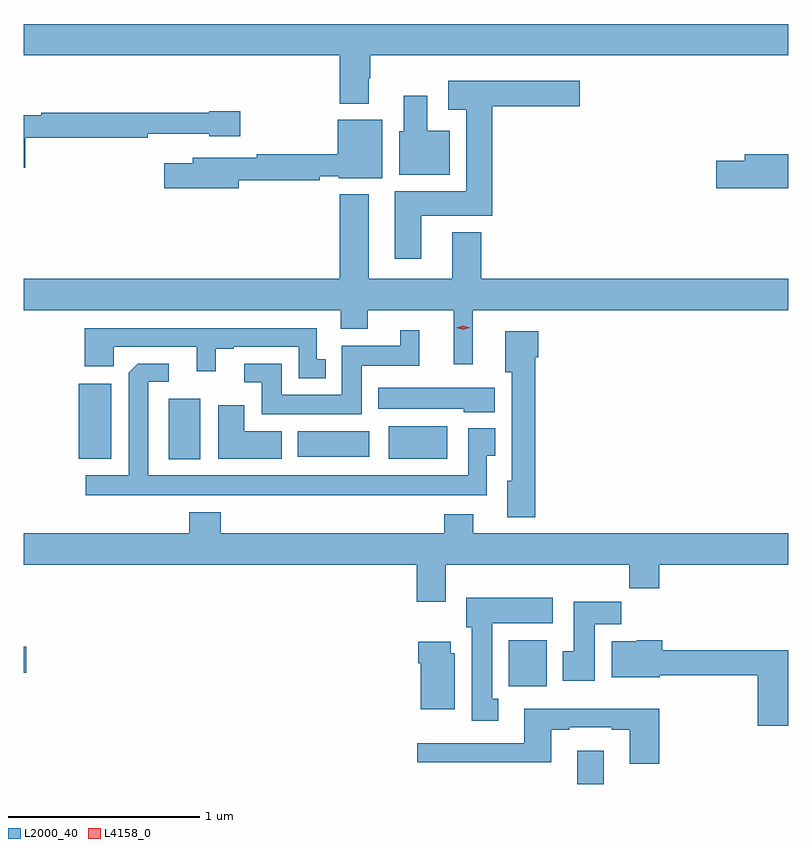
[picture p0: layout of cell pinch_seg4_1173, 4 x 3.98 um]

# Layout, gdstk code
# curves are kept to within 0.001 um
import gdstk
lib = gdstk.Library(unit=1e-6, precision=1e-09)
def R(c, l, rs):  # rectangles x0, y0, x1, y1
    for r in rs: c.add(gdstk.rectangle(r[:2], r[2:], *l))
def P(c, l, *ps):  # polygons
    for p in ps: c.add(gdstk.Polygon(p, *l))
L2000_40 = (2000, 40)
L4158_0 = (4158, 0)

pinch_seg4_1173 = lib.new_cell('pinch_seg4_1173')
R(pinch_seg4_1173, L2000_40, [(546.449,759.709,546.589,759.883), (546.092,760.22,546.289,760.462), (543.554,760.292,543.568,760.428), (544.313,761.408,544.477,761.725), (543.842,761.411,544.012,761.803), (545.465,761.411,545.77,761.581), (544.988,761.42,545.362,761.554)])
P(pinch_seg4_1173, L2000_40, [(545.359,763.4),(545.367,763.4),(545.367,763.52),(547.554,763.52),(547.554,763.684),(543.554,763.684),(543.554,763.52),(545.207,763.52),(545.207,763.268),(545.359,763.268)],
  [(545.635,762.68),(546.005,762.68),(546.005,763.253),(546.463,763.253),(546.463,763.387),(545.775,763.387),(545.775,763.235),(545.87,763.235),(545.87,762.808),(545.495,762.808),(545.495,762.456),(545.635,762.456)],
  [(545.782,763.126),(545.665,763.126),(545.665,763.309),(545.543,763.309),(545.543,763.122),(545.519,763.122),(545.519,762.896),(545.782,762.896)],
  [(543.563,763.09),(544.202,763.09),(544.202,763.11),(544.524,763.11),(544.524,763.097),(544.687,763.097),(544.687,763.227),(544.524,763.227),(544.524,763.219),(543.646,763.219),(543.646,763.208),(543.554,763.208),(543.554,762.932),(543.563,762.932)],
  [(544.678,762.868),(545.102,762.868),(545.102,762.888),(545.202,762.888),(545.202,762.878),(545.431,762.878),(545.431,763.183),(545.198,763.183),(545.198,763.004),(544.774,763.004),(544.774,762.984),(544.439,762.984),(544.439,762.955),(544.29,762.955),(544.29,762.826),(544.678,762.826)],
  [(547.554,763.004),(547.325,763.004),(547.325,762.968),(547.176,762.968),(547.176,762.826),(547.554,762.826)],
  [(545.902,762.188),(547.554,762.188),(547.554,762.352),(545.948,762.352),(545.948,762.595),(545.795,762.595),(545.795,762.352),(545.359,762.352),(545.359,762.793),(545.207,762.793),(545.207,762.352),(543.554,762.352),(543.554,762.188),(545.213,762.188),(545.213,762.089),(545.353,762.089),(545.353,762.188),(545.804,762.188),(545.804,761.904),(545.902,761.904)],
  [(545.134,761.931),(545.088,761.931),(545.088,762.093),(543.875,762.093),(543.875,761.894),(544.026,761.894),(544.026,761.997),(544.46,761.997),(544.46,761.868),(544.558,761.868),(544.558,761.985),(544.654,761.985),(544.654,761.997),(544.992,761.997),(544.992,761.831),(545.134,761.831)],
  [(545.323,761.897),(545.624,761.897),(545.624,762.082),(545.525,762.082),(545.525,762.001),(545.219,762.001),(545.219,761.746),(544.903,761.746),(544.903,761.907),(544.707,761.907),(544.707,761.811),(544.799,761.811),(544.799,761.642),(545.323,761.642)],
  [(546.23,761.94),(546.245,761.94),(546.245,762.076),(546.074,762.076),(546.074,761.862),(546.107,761.862),(546.107,761.295),(546.083,761.295),(546.083,761.105),(546.23,761.105)],
  [(545.977,761.425),(546.022,761.425),(546.022,761.569),(545.88,761.569),(545.88,761.323),(544.207,761.323),(544.207,761.814),(544.312,761.814),(544.312,761.907),(544.15,761.907),(544.104,761.861),(544.103,761.323),(543.879,761.323),(543.879,761.219),(545.977,761.219)],
  [(546.019,761.782),(545.408,761.782),(545.408,761.672),(545.856,761.672),(545.856,761.654),(546.019,761.654)],
  [(544.903,761.554),(544.708,761.554),(544.708,761.689),(544.571,761.689),(544.571,761.411),(544.903,761.411)],
  [(545.761,760.856),(546.721,760.856),(546.721,760.732),(546.878,760.732),(546.878,760.856),(547.554,760.856),(547.554,761.02),(545.905,761.02),(545.905,761.119),(545.753,761.119),(545.753,761.02),(544.586,761.02),(544.586,761.131),(544.421,761.131),(544.421,761.02),(543.554,761.02),(543.554,760.856),(545.609,760.856),(545.609,760.662),(545.761,760.662)],
  [(546.037,760.154),(546.004,760.154),(546.004,760.55),(546.322,760.55),(546.322,760.684),(545.87,760.684),(545.87,760.53),(545.897,760.53),(545.897,760.041),(546.037,760.041)],
  [(546.541,760.544),(546.68,760.544),(546.68,760.663),(546.431,760.663),(546.431,760.404),(546.374,760.404),(546.374,760.248),(546.541,760.248)],
  [(547.554,760.408),(546.893,760.408),(546.893,760.462),(546.762,760.462),(546.762,760.456),(546.629,760.456),(546.629,760.268),(546.88,760.268),(546.88,760.279),(547.394,760.279),(547.394,760.014),(547.554,760.014)],
  [(545.809,760.392),(545.788,760.392),(545.788,760.453),(545.618,760.453),(545.618,760.34),(545.63,760.34),(545.63,760.1),(545.809,760.1)],
  [(546.878,760.102),(546.173,760.102),(546.173,759.921),(545.613,759.921),(545.613,759.824),(546.313,759.824),(546.313,759.993),(546.409,759.993),(546.409,760.005),(546.629,760.005),(546.629,759.993),(546.725,759.993),(546.725,759.816),(546.878,759.816)])
P(pinch_seg4_1173, L4158_0, [(545.853,762.086),(545.817,762.095),(545.817,762.096),(545.817,762.096),(545.853,762.106),(545.888,762.096),(545.888,762.096),(545.888,762.095)])

lib.write_gds('pinch_seg4_1173.gds')
